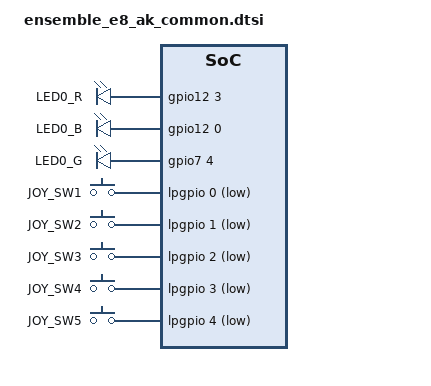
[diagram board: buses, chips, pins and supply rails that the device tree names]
/*
 * SPDX-FileCopyrightText: Copyright Alif Semiconductor
 * SPDX-License-Identifier: Apache-2.0
 */

/*
 * On-board peripherals shared by every ensemble_e8_ak board target. Include
 * this after the SoC dtsi, the cluster dtsi and the board pinctrl dtsi: every
 * node referenced below comes from one of those.
 */

#include <zephyr/dt-bindings/gpio/gpio.h>
#include <zephyr/dt-bindings/input/input-event-codes.h>

/ {
	aliases {
		led0 = &led_red;
		led1 = &led_blue;
		led2 = &led_green;
		sw0 = &joy_center;
	};

	leds {
		compatible = "gpio-leds";

		led_red: led_0 {
			gpios = <&gpio12 3 GPIO_ACTIVE_HIGH>;
			label = "LED0_R";
		};

		led_blue: led_1 {
			gpios = <&gpio12 0 GPIO_ACTIVE_HIGH>;
			label = "LED0_B";
		};

		led_green: led_2 {
			gpios = <&gpio7 4 GPIO_ACTIVE_HIGH>;
			label = "LED0_G";
		};
	};

	gpio_keys {
		compatible = "gpio-keys";
		/*
		 * The DesignWare GPIO driver does not implement both
		 * edge triggering, which the interrupt driven mode of
		 * the GPIO keys driver needs.
		 */
		polling-mode;

		joy_left: joy_left {
			gpios = <&lpgpio 0 GPIO_ACTIVE_LOW>;
			label = "JOY_SW1";
			zephyr,code = <INPUT_KEY_LEFT>;
		};

		joy_up: joy_up {
			gpios = <&lpgpio 1 GPIO_ACTIVE_LOW>;
			label = "JOY_SW2";
			zephyr,code = <INPUT_KEY_UP>;
		};

		joy_down: joy_down {
			gpios = <&lpgpio 2 GPIO_ACTIVE_LOW>;
			label = "JOY_SW3";
			zephyr,code = <INPUT_KEY_DOWN>;
		};

		joy_right: joy_right {
			gpios = <&lpgpio 3 GPIO_ACTIVE_LOW>;
			label = "JOY_SW4";
			zephyr,code = <INPUT_KEY_RIGHT>;
		};

		joy_center: joy_center {
			gpios = <&lpgpio 4 GPIO_ACTIVE_LOW>;
			label = "JOY_SW5";
			zephyr,code = <INPUT_KEY_ENTER>;
		};
	};
};

&gpio7 {
	status = "okay";
	pinctrl-0 = <&pinctrl_gpio7>;
	pinctrl-names = "default";
};

&gpio12 {
	status = "okay";
	pinctrl-0 = <&pinctrl_gpio12>;
	pinctrl-names = "default";
};

&lpgpio {
	status = "okay";
	pinctrl-0 = <&pinctrl_lpgpio>;
	pinctrl-names = "default";
};
